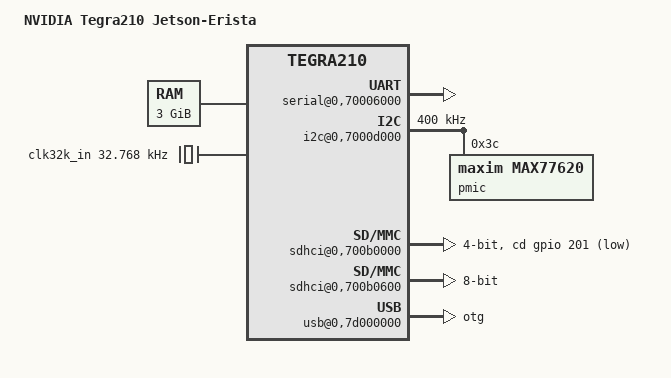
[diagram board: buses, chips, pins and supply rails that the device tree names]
/dts-v1/;

#include <dt-bindings/input/input.h>
#include "tegra210.dtsi"

/ {
	model = "NVIDIA Tegra210 Jetson-Erista";
	compatible = "nvidia,jetson-erista", "nvidia,tegra210";

	aliases {
		i2c0 = "/i2c@0,7000d000";
		rtc0 = "/i2c@0,7000d000/pmic@3c";
		rtc1 = "/rtc@0,7000e000";
		sdhci0 = "/sdhci@0,700b0600";
		sdhci1 = "/sdhci@0,700b0000";
		serial0 = &uarta;
		usb0 = "/usb@0,7d000000";
	};

	chosen {
		stdout-path = &uarta;
	};

	memory {
		reg = <0x0 0x80000000 0x0 0xc0000000>;
	};

	pcie-controller@0,01003000 {
		status = "disabled";

		pci@1,0 {
			status = "okay";
		};

		pci@2,0 {
			status = "okay";
		};
	};

	pinmux: pinmux@0,70000868 {
		pinctrl-names = "boot";
		pinctrl-0 = <&state_boot>;

		state_boot: pinmux {
		};
	};

	/* debug port */
	serial@0,70006000 {
		status = "okay";
	};

	i2c@0,7000d000 {
		status = "okay";
		clock-frequency = <400000>;

		pmic: pmic@3c {
			compatible = "maxim,max77620";
			reg = <0x3c>;
			interrupts = <GIC_SPI 86 IRQ_TYPE_LEVEL_HIGH>;

			#interrupt-cells = <2>;
			interrupt-controller;

			#gpio-cells = <2>;
			gpio-controller;
		};
	};

	sdhci@0,700b0000 {
		status = "okay";
		cd-gpios = <&gpio 201 1>; /* gpio PZ1 */
		power-gpios = <&gpio 204 0>; /* gpio PZ4 */
		bus-width = <4>;
	};

	sdhci@0,700b0600 {
		status = "okay";
		bus-width = <8>;
	};

	usb@0,7d000000 {
		status = "okay";
		dr_mode = "otg";
		nvidia,vbus-gpio = <&gpio TEGRA_GPIO(N, 5) GPIO_ACTIVE_HIGH>;
	};

	clocks {
		compatible = "simple-bus";
		#address-cells = <1>;
		#size-cells = <0>;

		clk32k_in: clock@0 {
			compatible = "fixed-clock";
			reg = <0>;
			#clock-cells = <0>;
			clock-frequency = <32768>;
		};
	};
};
